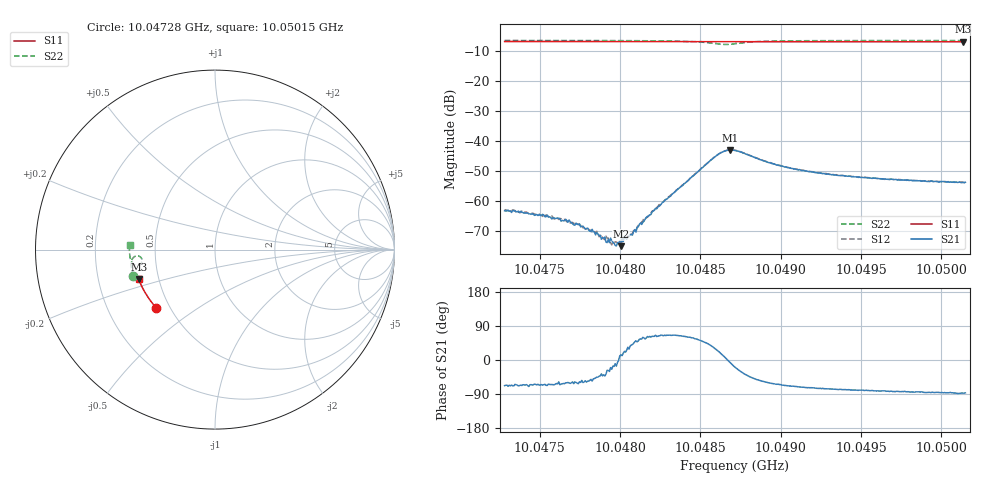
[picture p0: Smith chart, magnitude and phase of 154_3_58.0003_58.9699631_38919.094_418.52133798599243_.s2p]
#  HZ  S  RI  R  50.00
! Rohde & Schwarz Vector Network Analyzer
! Rohde-Schwarz,ZNB20-2Port,1311601062101988,3.16
! Created: UTC 3/21/2024, 12:57:10 AM
! freq[Hz]  re:S11  im:S11  re:S21  im:S21  re:S12  im:S12  re:S22  im:S22
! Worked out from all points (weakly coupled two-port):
!   401 points, 10.04728 GHz to 10.05015 GHz, reference 50 ohm
!   highest |S21| = -42.99 dB at 10.04869 GHz (marker M1); lowest = -75.1 dB at 10.04801 GHz (marker M2)
!   lowest |S11| = -6.8 dB at 10.05014 GHz (marker M3), VSWR 2.67, Z = 19.3 - j7.99 ohm
!   |S11| at or under -10 dB: nowhere
!   |S22| runs from -7.7 to -6.4 dB; largest |S21 - S12| = 0.0005
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1.0047282e10  -0.327 -0.324  0.000262 -0.000638  0.000324 -0.00062  -0.4558 -0.1468
1.0047562e10  -0.3395 -0.3101  0.000235 -0.000492  0.000278 -0.000486  -0.4607 -0.1274
1.0047676e10  -0.3442 -0.3043  0.000226 -0.000381  0.000213 -0.000407  -0.4627 -0.1193
1.0047762e10  -0.3479 -0.2998  0.000223 -0.000305  0.000234 -0.000326  -0.4639 -0.113
1.0047841e10  -0.3511 -0.2956  0.000199 -0.000229  0.000213 -0.000227  -0.4649 -0.107
1.0047884e10  -0.3531 -0.2935  0.000185 -0.000137  0.00021 -0.00018  -0.4654 -0.1036
1.004792e10  -0.3544 -0.2915  0.00018 -9.28e-05  0.000203 -0.000128  -0.4656 -0.1008
1.0047949e10  -0.3555 -0.2899  0.000202 -9.1e-05  0.00017 -7.46e-05  -0.4661 -0.0986
1.0047978e10  -0.3568 -0.2885  0.000171 -4.94e-05  0.000206 -1.16e-05  -0.4662 -0.0963
1.0048006e10  -0.3579 -0.2871  0.000172 4.08e-05  0.000207 6.45e-05  -0.4666 -0.0937
1.0048085e10  -0.3609 -0.2827  0.000225 0.000218  0.000215 0.000238  -0.4671 -0.087
1.004815e10  -0.3634 -0.2794  0.000243 0.00039  0.00024 0.000462  -0.467 -0.0813
1.0048243e10  -0.3671 -0.2745  0.000363 0.00073  0.000349 0.000795  -0.4664 -0.0719
1.004858e10  -0.3791 -0.2556  0.00429 0.00289  0.00416 0.00314  -0.4275 -0.0351
1.0048637e10  -0.3809 -0.2525  0.00639 0.00155  0.00636 0.00192  -0.41 -0.0478
1.0048688e10  -0.3825 -0.2498  0.00702 -0.000962  0.0071 -0.000497  -0.4074 -0.0693
1.0048716e10  -0.3835 -0.2484  0.0066 -0.00228  0.00679 -0.00184  -0.4137 -0.0797
1.0048974e10  -0.3925 -0.2339  0.00174 -0.00359  0.00201 -0.00354  -0.464 -0.0689
1.0049197e10  -0.3997 -0.221  0.000884 -0.00294  0.00103 -0.00291  -0.4726 -0.0463
1.0049677e10  -0.4134 -0.1925  0.000274 -0.00226  0.00039 -0.00228  -0.4767 -0.00788
1.0050136e10  -0.4245 -0.1642  9.27e-05 -0.00206  0.000195 -0.00204  -0.4762 0.0247
1.005015e10  -0.4249 -0.1635  0.000115 -0.00205  0.000205 -0.00204  -0.4762 0.0257
